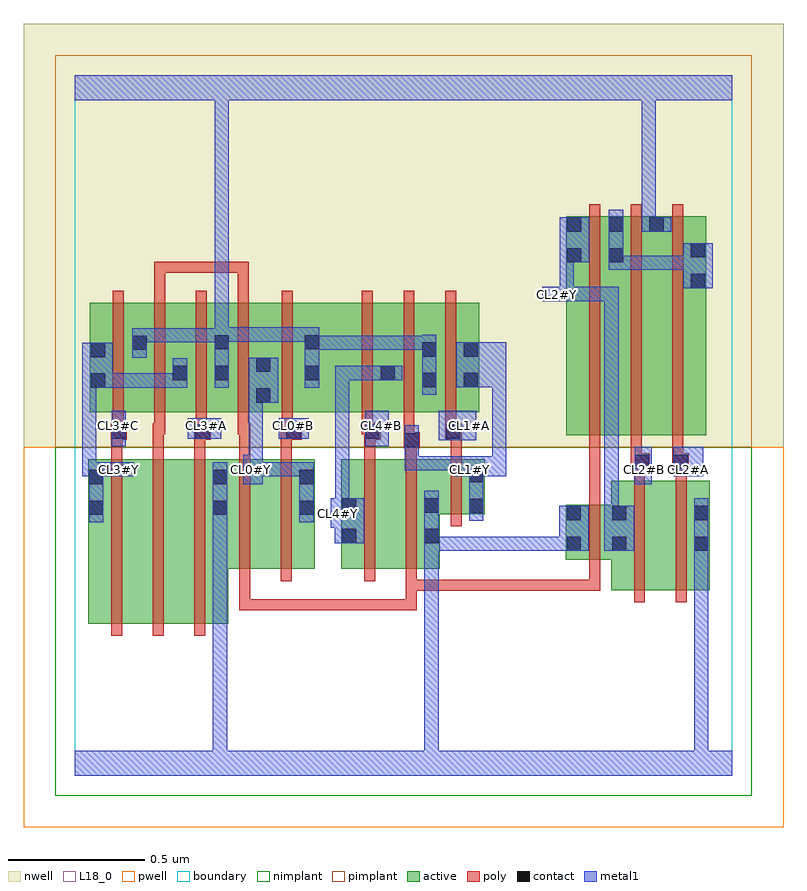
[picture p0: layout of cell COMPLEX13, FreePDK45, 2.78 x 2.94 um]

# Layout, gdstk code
import gdstk
lib = gdstk.Library(unit=1e-6, precision=1e-09)
def R(c, l, rs):  # rectangles x0, y0, x1, y1
    for r in rs: c.add(gdstk.rectangle(r[:2], r[2:], *l))
def A(c, l, x, y, w, h, nx, ny, dx, dy):  # array of equal rectangles
    R(c, l, [(x+i*dx, y+j*dy, x+i*dx+w, y+j*dy+h) for i in range(nx) for j in range(ny)])
active = (1, 0)
pwell = (2, 0)
nwell = (3, 0)
nimplant = (4, 0)
pimplant = (5, 0)
poly = (9, 0)
contact = (10, 0)
metal1 = (11, 0)
L18_0 = (18, 0)
boundary = (235, 0)

complex13 = lib.new_cell('COMPLEX13')
R(complex13, active, [(0.048,0.556,0.228,1.156), (0.048,0.556,0.108,1.156), (0.228,0.556,0.38,1.156), (0.38,0.556,0.56,1.156), (1.958,0.678,2.138,1.078), (1.958,0.678,2.018,0.99), (2.138,0.678,2.318,1.078), (2.258,0.678,2.318,1.078), (0.5,0.756,0.696,1.156), (0.5,0.756,0.56,1.122), (0.696,0.756,0.876,1.156), (0.816,0.756,0.876,1.156), (0.972,0.756,1.032,1.156), (0.972,0.756,1.152,1.156), (1.152,0.756,1.332,1.156), (1.792,0.79,2.018,0.99), (1.792,0.79,1.852,0.99), (1.272,0.846,1.332,1.028), (1.272,0.956,1.496,1.156), (1.436,0.956,1.496,1.156), (1.794,1.244,1.854,2.044), (1.794,1.244,2.006,2.044), (1.946,1.244,2.006,2.044), (1.946,1.244,2.154,2.044), (2.094,1.244,2.154,2.044), (2.094,1.244,2.306,2.044), (2.246,1.244,2.306,2.044), (0.054,1.328,0.114,1.644), (0.054,1.328,0.266,1.728), (0.206,1.328,0.414,1.728), (0.354,1.328,0.566,1.728), (0.506,1.328,0.566,1.728), (0.506,1.328,0.718,1.728), (0.658,1.328,0.896,1.728), (0.836,1.328,1.172,1.728), (1.112,1.328,1.324,1.728), (1.264,1.328,1.476,1.728), (1.416,1.328,1.476,1.644), (0.658,1.36,0.718,1.644), (1.264,1.416,1.324,1.644), (0.354,1.442,0.414,1.644), (0.836,1.442,0.896,1.644), (1.112,1.442,1.172,1.644), (0.206,1.552,0.266,1.644)])
R(complex13, pwell, [(-0.188,-0.188,2.588,1.2)])
R(complex13, nwell, [(-0.188,1.2,2.588,2.748)])
R(complex13, nimplant, [(-0.072,-0.072,2.472,1.2)])
R(complex13, pimplant, [(-0.072,1.2,2.472,2.632)])
A(complex13, poly, 0.132, 0.512, 0.04, 0.688, 3, 1, 0.152, 0)
A(complex13, poly, 0.89, 0.606, 0.146, 0.04, 3, 1, 0.106, 0)
A(complex13, poly, 1.878, 1.2, 0.04, 0.888, 3, 1, 0.152, 0)
A(complex13, poly, 0.138, 1.248, 0.04, 0.076, 4, 1, 0.152, 0)
A(complex13, poly, 0.138, 1.284, 0.04, 0.488, 4, 1, 0.152, 0)
A(complex13, poly, 1.048, 1.284, 0.04, 0.488, 3, 1, 0.152, 0)
R(complex13, poly, [(0.6,0.606,0.64,0.646), (0.6,0.606,0.746,0.646), (0.6,0.606,0.64,0.752), (0.706,0.606,0.746,0.646), (0.706,0.606,0.746,0.646), (0.706,0.606,0.746,0.646), (0.706,0.606,0.93,0.646), (0.89,0.606,0.93,0.646), (0.996,0.606,1.036,0.646), (0.996,0.606,1.036,0.646), (0.996,0.606,1.036,0.646), (1.102,0.606,1.142,0.646), (1.208,0.606,1.248,0.716), (2.042,0.634,2.082,1.122), (2.194,0.634,2.234,1.122), (1.208,0.676,1.248,0.716), (1.208,0.676,1.248,0.716), (1.208,0.676,1.248,0.752), (1.208,0.676,1.812,0.716), (1.772,0.676,1.812,0.716), (1.772,0.676,1.812,0.716), (1.772,0.676,1.812,0.716), (1.772,0.676,1.812,0.716), (1.772,0.676,1.812,0.716), (1.772,0.676,1.812,0.716), (1.772,0.676,1.812,0.716), (1.772,0.676,1.918,0.716), (1.878,0.676,1.918,0.716), (1.878,0.676,1.918,0.716), (1.878,0.676,1.918,0.716), (1.878,0.676,1.918,0.786), (0.6,0.712,0.64,1.2), (0.752,0.712,0.792,1.2), (1.056,0.712,1.096,1.2), (1.208,0.712,1.248,1.2), (1.878,0.746,1.918,1.034), (1.372,0.912,1.412,1.2), (1.878,0.994,1.918,1.204), (2.042,1.082,2.082,1.158), (2.194,1.082,2.234,1.158), (2.04,1.118,2.1,1.178), (2.182,1.118,2.242,1.178), (2.03,1.138,2.07,1.24), (2.03,1.138,2.08,1.178), (2.04,1.138,2.08,1.178), (2.182,1.138,2.222,1.24), (2.182,1.138,2.222,1.178), (2.182,1.138,2.222,1.178), (0.132,1.16,0.172,1.268), (0.284,1.16,0.324,1.288), (0.436,1.16,0.476,1.268), (0.6,1.16,0.64,1.288), (0.752,1.16,0.792,1.268), (1.056,1.16,1.096,1.268), (1.208,1.16,1.248,1.236), (1.372,1.16,1.412,1.268), (1.878,1.164,1.918,1.204), (1.878,1.164,1.918,1.204), (1.878,1.164,1.918,1.204), (1.878,1.164,1.918,1.24), (1.2,1.196,1.26,1.256), (1.2,1.216,1.24,1.256), (1.2,1.216,1.24,1.256), (1.2,1.216,1.24,1.324), (0.13,1.228,0.19,1.288), (0.132,1.228,0.172,1.268), (0.132,1.228,0.172,1.268), (0.436,1.228,0.496,1.288), (0.752,1.228,0.796,1.268), (0.756,1.228,0.796,1.268), (0.756,1.228,0.828,1.288), (1.056,1.228,1.116,1.288), (1.352,1.228,1.412,1.288), (1.372,1.228,1.412,1.268), (1.372,1.228,1.412,1.268), (0.284,1.248,0.33,1.288), (0.29,1.248,0.33,1.288), (0.29,1.248,0.33,1.288), (0.442,1.248,0.482,1.288), (0.442,1.248,0.482,1.288), (0.594,1.248,0.634,1.288), (0.594,1.248,0.634,1.288), (0.594,1.248,0.64,1.288), (0.756,1.248,0.796,1.324), (1.048,1.248,1.088,1.324), (1.048,1.248,1.096,1.288), (1.056,1.248,1.096,1.288), (1.352,1.248,1.392,1.324), (0.756,1.284,0.796,1.772), (0.29,1.732,0.33,1.878), (0.594,1.732,0.634,1.878), (0.29,1.838,0.33,1.878), (0.29,1.838,0.33,1.878), (0.29,1.838,0.33,1.878), (0.29,1.838,0.436,1.878), (0.396,1.838,0.436,1.878), (0.396,1.838,0.634,1.878), (0.594,1.838,0.634,1.878), (0.594,1.838,0.634,1.878), (0.594,1.838,0.634,1.878)])
R(complex13, contact, [(1.796,0.822,1.848,0.874), (1.962,0.822,2.014,0.874), (2.262,0.822,2.314,0.874), (0.976,0.85,1.028,0.902), (1.276,0.85,1.328,0.902), (1.796,0.934,1.848,0.986), (1.962,0.934,2.014,0.986), (2.262,0.934,2.314,0.986), (0.052,0.954,0.104,1.006), (0.504,0.954,0.556,1.006), (0.82,0.954,0.872,1.006), (1.44,0.96,1.492,1.012), (0.976,0.962,1.028,1.014), (1.276,0.962,1.328,1.014), (0.052,1.066,0.104,1.118), (0.504,1.066,0.556,1.118), (0.82,1.066,0.872,1.118), (1.44,1.072,1.492,1.124), (2.044,1.122,2.096,1.174), (2.186,1.122,2.238,1.174), (1.204,1.2,1.256,1.252), (0.134,1.232,0.186,1.284), (0.44,1.232,0.492,1.284), (0.772,1.232,0.824,1.284), (1.06,1.232,1.112,1.284), (1.356,1.232,1.408,1.284), (0.662,1.364,0.714,1.416), (0.058,1.418,0.11,1.47), (1.268,1.42,1.32,1.472), (1.42,1.42,1.472,1.472), (0.358,1.446,0.41,1.498), (0.51,1.446,0.562,1.498), (0.84,1.446,0.892,1.498), (1.116,1.446,1.168,1.498), (0.662,1.476,0.714,1.528), (0.058,1.53,0.11,1.582), (1.268,1.532,1.32,1.584), (1.42,1.532,1.472,1.584), (0.21,1.556,0.262,1.608), (0.51,1.558,0.562,1.61), (0.84,1.558,0.892,1.61), (2.25,1.782,2.302,1.834), (1.798,1.876,1.85,1.928), (1.95,1.876,2.002,1.928), (2.25,1.894,2.302,1.946), (1.798,1.988,1.85,2.04), (1.95,1.988,2.002,2.04), (2.098,1.988,2.15,2.04)])
R(complex13, metal1, [(0,0,2.4,0.092), (0.504,0.04,0.556,0.092), (0.504,0.04,0.556,0.092), (0.504,0.04,0.556,0.092), (0.504,0.04,0.556,0.092), (0.504,0.04,0.556,0.092), (0.504,0.04,0.556,0.092), (0.504,0.04,0.556,0.092), (0.504,0.04,0.556,0.092), (0.504,0.04,0.556,0.978), (1.276,0.04,1.328,0.092), (1.276,0.04,1.328,0.092), (1.276,0.04,1.328,0.092), (1.276,0.04,1.328,0.092), (1.276,0.04,1.328,0.092), (1.276,0.04,1.328,0.092), (1.276,0.04,1.328,0.092), (1.276,0.04,1.328,0.092), (1.276,0.04,1.328,0.092), (1.276,0.04,1.328,0.092), (1.276,0.04,1.328,0.874), (2.262,0.04,2.314,0.092), (2.262,0.04,2.314,0.092), (2.262,0.04,2.314,0.092), (2.262,0.04,2.314,0.092), (2.262,0.04,2.314,0.092), (2.262,0.04,2.314,0.092), (2.262,0.04,2.314,0.092), (2.262,0.04,2.314,0.092), (2.262,0.04,2.314,0.092), (2.262,0.04,2.314,0.092), (2.262,0.04,2.314,0.092), (2.262,0.04,2.314,0.092), (2.262,0.04,2.314,0.846), (2.262,0.794,2.314,1.014), (1.276,0.822,1.328,0.874), (1.276,0.822,1.328,0.874), (1.276,0.822,1.328,1.042), (1.276,0.822,1.518,0.874), (1.466,0.822,1.518,0.874), (1.466,0.822,1.518,0.874), (1.466,0.822,1.518,0.874), (1.466,0.822,1.518,0.874), (1.466,0.822,1.518,0.874), (1.466,0.822,1.518,0.874), (1.466,0.822,1.518,0.874), (1.466,0.822,1.82,0.874), (1.768,0.822,1.876,0.986), (1.934,0.822,2.042,0.986), (0.948,0.85,1.056,1.014), (0.934,0.906,1,1.014), (0.052,0.926,0.104,1.146), (0.504,0.926,0.556,1.146), (0.82,0.926,0.872,1.146), (1.44,0.932,1.492,1.152), (1.934,0.934,1.986,1.786), (0.948,0.962,1,1.014), (0.948,0.962,1,1.014), (0.948,0.962,1.002,1.014), (0.95,0.962,1.002,1.498), (0.614,1.066,0.686,1.174), (2.044,1.066,2.106,1.202), (0.026,1.094,0.078,1.47), (0.026,1.094,0.214,1.146), (0.052,1.094,0.104,1.146), (0.634,1.094,0.782,1.146), (0.73,1.094,0.782,1.146), (0.73,1.094,0.872,1.146), (0.82,1.094,0.872,1.146), (0.82,1.094,0.872,1.146), (1.386,1.094,1.576,1.168), (2.186,1.094,2.294,1.202), (1.44,1.1,1.492,1.152), (1.204,1.116,1.438,1.168), (1.204,1.116,1.256,1.224), (1.386,1.116,1.438,1.168), (1.386,1.116,1.438,1.168), (1.524,1.116,1.576,1.168), (1.524,1.116,1.576,1.168), (1.524,1.116,1.576,1.472), (0.634,1.122,0.686,1.416), (1.204,1.172,1.256,1.224), (1.204,1.172,1.256,1.28), (0.134,1.204,0.186,1.334), (1.06,1.204,1.146,1.334), (1.328,1.226,1.466,1.334), (0.412,1.232,0.534,1.306), (0.744,1.232,0.854,1.306), (0.634,1.364,0.686,1.416), (0.634,1.364,0.686,1.416), (0.634,1.364,0.742,1.528), (1.268,1.392,1.32,1.612), (0.026,1.418,0.078,1.47), (0.026,1.418,0.078,1.47), (0.026,1.418,0.138,1.582), (0.086,1.418,0.138,1.47), (0.086,1.418,0.138,1.47), (0.086,1.418,0.262,1.47), (0.21,1.418,0.262,1.47), (0.21,1.418,0.262,1.47), (0.21,1.418,0.262,1.47), (0.21,1.418,0.41,1.47), (0.358,1.418,0.41,1.526), (0.51,1.418,0.562,1.638), (0.84,1.418,0.892,1.638), (1.392,1.42,1.576,1.584), (0.95,1.446,1.002,1.498), (0.95,1.446,1.14,1.498), (1.088,1.446,1.14,1.498), (1.088,1.446,1.14,1.498), (1.088,1.446,1.196,1.498), (0.21,1.528,0.262,1.636), (0.84,1.556,0.892,1.608), (0.84,1.556,0.892,1.608), (0.84,1.556,1.112,1.608), (1.06,1.556,1.112,1.608), (1.06,1.556,1.112,1.608), (1.06,1.556,1.112,1.608), (1.06,1.556,1.27,1.608), (1.218,1.556,1.27,1.608), (1.218,1.556,1.32,1.608), (0.21,1.584,0.262,1.636), (0.21,1.584,0.262,1.636), (0.21,1.584,0.372,1.636), (0.32,1.584,0.372,1.636), (0.32,1.584,0.372,1.636), (0.32,1.584,0.372,1.636), (0.32,1.584,0.562,1.636), (0.51,1.586,0.562,1.638), (0.51,1.586,0.562,1.638), (0.51,1.586,0.562,1.638), (0.51,1.586,0.562,1.638), (0.51,1.586,0.562,1.638), (0.51,1.586,0.562,1.638), (0.51,1.586,0.562,1.638), (0.51,1.586,0.562,1.638), (0.51,1.586,0.562,1.638), (0.51,1.586,0.562,1.638), (0.51,1.586,0.672,1.638), (0.51,1.586,0.562,2.52), (0.62,1.586,0.672,1.638), (0.62,1.586,0.672,1.638), (0.62,1.586,0.672,1.638), (0.62,1.586,0.892,1.638), (1.706,1.734,1.822,1.786), (1.77,1.734,1.822,1.786), (1.77,1.734,1.822,1.786), (1.77,1.734,1.822,1.786), (1.77,1.734,1.822,1.786), (1.77,1.734,1.986,1.786), (1.77,1.734,1.822,1.928), (1.934,1.734,1.986,1.786), (2.222,1.782,2.33,1.946), (1.95,1.848,2.002,1.9), (1.95,1.848,2.002,1.9), (1.95,1.848,2.002,2.068), (1.95,1.848,2.164,1.9), (2.112,1.848,2.164,1.9), (2.112,1.848,2.274,1.9), (2.222,1.848,2.274,1.9), (2.222,1.848,2.274,1.9), (1.77,1.876,1.878,2.04), (2.07,1.988,2.122,2.04), (2.07,1.988,2.122,2.04), (2.07,1.988,2.122,2.04), (2.07,1.988,2.122,2.04), (2.07,1.988,2.122,2.52), (2.07,1.988,2.178,2.04), (0,2.468,2.4,2.56), (0.51,2.468,0.562,2.52), (0.51,2.468,0.562,2.52), (0.51,2.468,0.562,2.52), (0.51,2.468,0.562,2.52), (0.51,2.468,0.562,2.52), (0.51,2.468,0.562,2.52), (0.51,2.468,0.562,2.52), (0.51,2.468,0.562,2.52), (2.07,2.468,2.122,2.52), (2.07,2.468,2.122,2.52), (2.07,2.468,2.122,2.52), (2.07,2.468,2.122,2.52)])
A(complex13, L18_0, 0.134, 1.254, 0.052, 0.052, 5, 1, 0.32, 0)
R(complex13, L18_0, [(0,0,2.4,0.092), (0.504,0.04,0.556,0.092), (0.504,0.04,0.556,0.092), (0.504,0.04,0.556,0.092), (0.504,0.04,0.556,0.092), (0.504,0.04,0.556,0.092), (0.504,0.04,0.556,0.092), (0.504,0.04,0.556,0.092), (0.504,0.04,0.556,0.092), (0.504,0.04,0.556,0.978), (1.276,0.04,1.328,0.092), (1.276,0.04,1.328,0.092), (1.276,0.04,1.328,0.092), (1.276,0.04,1.328,0.092), (1.276,0.04,1.328,0.092), (1.276,0.04,1.328,0.092), (1.276,0.04,1.328,0.092), (1.276,0.04,1.328,0.092), (1.276,0.04,1.328,0.092), (1.276,0.04,1.328,0.092), (1.276,0.04,1.328,0.874), (2.262,0.04,2.314,0.092), (2.262,0.04,2.314,0.092), (2.262,0.04,2.314,0.092), (2.262,0.04,2.314,0.092), (2.262,0.04,2.314,0.092), (2.262,0.04,2.314,0.092), (2.262,0.04,2.314,0.092), (2.262,0.04,2.314,0.092), (2.262,0.04,2.314,0.092), (2.262,0.04,2.314,0.092), (2.262,0.04,2.314,0.092), (2.262,0.04,2.314,0.092), (2.262,0.04,2.314,0.846), (2.262,0.794,2.314,1.014), (1.276,0.822,1.328,1.042), (1.276,0.822,1.328,0.874), (1.276,0.822,1.328,0.874), (1.276,0.822,1.518,0.874), (1.466,0.822,1.518,0.874), (1.466,0.822,1.518,0.874), (1.466,0.822,1.518,0.874), (1.466,0.822,1.518,0.874), (1.466,0.822,1.518,0.874), (1.466,0.822,1.518,0.874), (1.466,0.822,1.518,0.874), (1.466,0.822,1.82,0.874), (1.768,0.822,1.876,0.986), (1.934,0.822,2.042,0.986), (0.948,0.85,1.056,1.014), (0.934,0.906,1,1.014), (0.052,0.926,0.104,1.146), (0.504,0.926,0.556,1.146), (0.82,0.926,0.872,1.146), (1.44,0.932,1.492,1.152), (0.934,0.934,0.986,0.986), (1.934,0.934,1.986,1.786), (0.948,0.962,1,1.014), (0.948,0.962,1,1.014), (0.948,0.962,1.002,1.014), (0.95,0.962,1.002,1.498), (0.614,1.066,0.686,1.174), (2.044,1.066,2.106,1.202), (0.026,1.094,0.214,1.146), (0.026,1.094,0.078,1.47), (0.052,1.094,0.104,1.146), (0.134,1.094,0.186,1.146), (0.614,1.094,0.666,1.146), (0.634,1.094,0.782,1.146), (0.73,1.094,0.782,1.146), (0.73,1.094,0.872,1.146), (0.82,1.094,0.872,1.146), (0.82,1.094,0.872,1.146), (1.386,1.094,1.576,1.168), (1.414,1.094,1.466,1.146), (2.054,1.094,2.106,1.146), (2.186,1.094,2.294,1.202), (2.214,1.094,2.266,1.146), (1.44,1.1,1.492,1.152), (1.204,1.116,1.256,1.224), (1.204,1.116,1.438,1.168), (1.386,1.116,1.438,1.168), (1.386,1.116,1.438,1.168), (1.524,1.116,1.576,1.168), (1.524,1.116,1.576,1.168), (1.524,1.116,1.576,1.472), (0.634,1.122,0.686,1.416), (1.204,1.172,1.256,1.224), (1.204,1.172,1.256,1.28), (0.134,1.204,0.186,1.334), (1.06,1.204,1.146,1.334), (1.328,1.226,1.466,1.334), (0.412,1.232,0.534,1.306), (0.744,1.232,0.854,1.306), (0.634,1.364,0.686,1.416), (0.634,1.364,0.686,1.416), (0.634,1.364,0.742,1.528), (1.268,1.392,1.32,1.612), (0.026,1.418,0.078,1.47), (0.026,1.418,0.078,1.47), (0.026,1.418,0.138,1.582), (0.086,1.418,0.138,1.47), (0.086,1.418,0.138,1.47), (0.086,1.418,0.262,1.47), (0.21,1.418,0.262,1.47), (0.21,1.418,0.262,1.47), (0.21,1.418,0.262,1.47), (0.21,1.418,0.41,1.47), (0.358,1.418,0.41,1.526), (0.51,1.418,0.562,1.638), (0.84,1.418,0.892,1.638), (1.392,1.42,1.576,1.584), (0.95,1.446,1.002,1.498), (0.95,1.446,1.14,1.498), (1.088,1.446,1.14,1.498), (1.088,1.446,1.14,1.498), (1.088,1.446,1.196,1.498), (0.21,1.528,0.262,1.636), (0.84,1.556,0.892,1.608), (0.84,1.556,0.892,1.608), (0.84,1.556,1.112,1.608), (1.06,1.556,1.112,1.608), (1.06,1.556,1.112,1.608), (1.06,1.556,1.112,1.608), (1.06,1.556,1.27,1.608), (1.218,1.556,1.27,1.608), (1.218,1.556,1.32,1.608), (0.21,1.584,0.262,1.636), (0.21,1.584,0.262,1.636), (0.21,1.584,0.372,1.636), (0.32,1.584,0.372,1.636), (0.32,1.584,0.372,1.636), (0.32,1.584,0.372,1.636), (0.32,1.584,0.562,1.636), (0.51,1.586,0.562,1.638), (0.51,1.586,0.562,1.638), (0.51,1.586,0.562,1.638), (0.51,1.586,0.562,1.638), (0.51,1.586,0.562,1.638), (0.51,1.586,0.562,1.638), (0.51,1.586,0.562,1.638), (0.51,1.586,0.562,1.638), (0.51,1.586,0.562,1.638), (0.51,1.586,0.562,1.638), (0.51,1.586,0.672,1.638), (0.51,1.586,0.562,2.52), (0.62,1.586,0.672,1.638), (0.62,1.586,0.672,1.638), (0.62,1.586,0.672,1.638), (0.62,1.586,0.892,1.638), (1.706,1.734,1.822,1.786), (1.734,1.734,1.786,1.786), (1.77,1.734,1.822,1.786), (1.77,1.734,1.822,1.786), (1.77,1.734,1.822,1.786), (1.77,1.734,1.822,1.786), (1.77,1.734,1.822,1.928), (1.77,1.734,1.986,1.786), (1.934,1.734,1.986,1.786), (1.77,1.876,1.878,2.04), (2.07,1.988,2.122,2.04), (2.07,1.988,2.122,2.04), (2.07,1.988,2.122,2.04), (2.07,1.988,2.122,2.04), (2.07,1.988,2.178,2.04), (2.07,1.988,2.122,2.52), (0,2.468,2.4,2.56), (0.51,2.468,0.562,2.52), (0.51,2.468,0.562,2.52), (0.51,2.468,0.562,2.52), (0.51,2.468,0.562,2.52), (0.51,2.468,0.562,2.52), (0.51,2.468,0.562,2.52), (0.51,2.468,0.562,2.52), (0.51,2.468,0.562,2.52), (2.07,2.468,2.122,2.52), (2.07,2.468,2.122,2.52), (2.07,2.468,2.122,2.52), (2.07,2.468,2.122,2.52)])
R(complex13, boundary, [(0,0,2.4,2.56)])
complex13.add(gdstk.Label('CL0#B', (0.8,1.28), layer=11, texttype=0))
complex13.add(gdstk.Label('CL0#Y', (0.64,1.12), layer=11, texttype=0))
complex13.add(gdstk.Label('CL1#A', (1.44,1.28), layer=11, texttype=0))
complex13.add(gdstk.Label('CL1#Y', (1.44,1.12), layer=11, texttype=0))
complex13.add(gdstk.Label('CL2#A', (2.24,1.12), layer=11, texttype=0))
complex13.add(gdstk.Label('CL2#B', (2.08,1.12), layer=11, texttype=0))
complex13.add(gdstk.Label('CL2#Y', (1.76,1.76), layer=11, texttype=0))
complex13.add(gdstk.Label('CL3#A', (0.48,1.28), layer=11, texttype=0))
complex13.add(gdstk.Label('CL3#C', (0.16,1.28), layer=11, texttype=0))
complex13.add(gdstk.Label('CL3#Y', (0.16,1.12), layer=11, texttype=0))
complex13.add(gdstk.Label('CL4#B', (1.12,1.28), layer=11, texttype=0))
complex13.add(gdstk.Label('CL4#Y', (0.96,0.96), layer=11, texttype=0))

lib.write_gds('COMPLEX13.gds')
